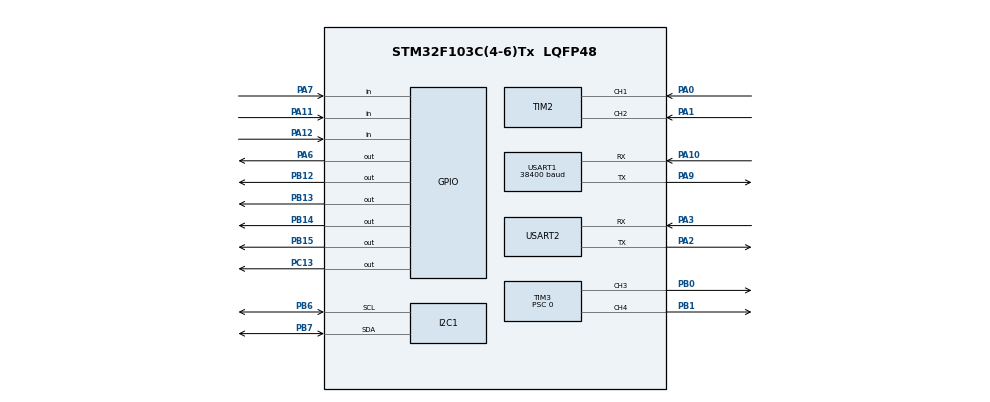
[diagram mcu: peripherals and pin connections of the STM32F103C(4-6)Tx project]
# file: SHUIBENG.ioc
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Mcu.Family=STM32F1
Mcu.Name=STM32F103C(4-6)Tx
Mcu.Package=LQFP48
PC13-TAMPER-RTC.PinState=GPIO_PIN_SET
PC13-TAMPER-RTC.GPIO_Speed=GPIO_SPEED_FREQ_LOW
PC13-TAMPER-RTC.Signal=GPIO_Output
NVIC.PriorityGroup=NVIC_PRIORITYGROUP_4
NVIC.USART1_IRQn=true\:2\:0\:false\:false\:true\:true\:true\:true
PA0-WKUP.Signal=S_TIM2_CH1_ETR
PA1.Signal=S_TIM2_CH2
PA10.Mode=Asynchronous
PA10.Signal=USART1_RX
PA11.GPIO_PuPd=GPIO_PULLUP
PA11.Signal=GPIO_Input
PA12.GPIO_PuPd=GPIO_PULLUP
PA12.Signal=GPIO_Input
PA2.Mode=Asynchronous
PA2.Signal=USART2_TX
PA3.Mode=Asynchronous
PA3.Signal=USART2_RX
PA6.Signal=GPIO_Output
PA7.Signal=GPIO_Input
PA9.Mode=Asynchronous
PA9.Signal=USART1_TX
PB0.Signal=S_TIM3_CH3
PB1.Signal=S_TIM3_CH4
PB12.Signal=GPIO_Output
PB13.Signal=GPIO_Output
PB14.Signal=GPIO_Output
PB15.Signal=GPIO_Output
PB6.Mode=I2C
PB6.Signal=I2C1_SCL
PB7.Mode=I2C
PB7.Signal=I2C1_SDA
ProjectManager.HeapSize=0x200
ProjectManager.StackSize=0x400
ProjectManager.TargetToolchain=CMake
RCC.APB1Freq_Value=8000000
RCC.APB2Freq_Value=8000000
SH.S_TIM2_CH1_ETR.0=TIM2_CH1,Encoder_Interface
SH.S_TIM2_CH2.0=TIM2_CH2,Encoder_Interface
SH.S_TIM3_CH3.0=TIM3_CH3,PWM Generation3 CH3
SH.S_TIM3_CH4.0=TIM3_CH4,PWM Generation4 CH4
TIM2.EncoderMode=TIM_ENCODERMODE_TI12
TIM3.Channel-PWM\ Generation3\ CH3=TIM_CHANNEL_3
TIM3.Channel-PWM\ Generation4\ CH4=TIM_CHANNEL_4
TIM3.Prescaler=0
TIM3.Period=399
USART1.BaudRate=38400
USART1.VirtualMode=VM_ASYNC
USART2.VirtualMode=VM_ASYNC
VP_RTC_VS_RTC_Activate.Mode=RTC_Enabled
PA13.Mode=Serial_Wire
PA13.Signal=SYS_JTMS-SWDIO
PA14.Mode=Serial_Wire
PA14.Signal=SYS_JTCK-SWCLK
board=custom

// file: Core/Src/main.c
/* USER CODE BEGIN Header */
/**
  ******************************************************************************
  * @file           : main.c
  * @brief          : Main program body
  ******************************************************************************
  * @attention
  *
  * Copyright (c) 2026 STMicroelectronics.
  * All rights reserved.
  *
  * This software is licensed under terms that can be found in the LICENSE file
  * in the root directory of this software component.
  * If no LICENSE file comes with this software, it is provided AS-IS.
  *
  ******************************************************************************
  */
/* USER CODE END Header */
#include "main.h"

/* USER CODE BEGIN Includes */
#include "tb6612.h"
#include "pid.h"
#include "pump_app.h"
#include "bt_control.h"
#include <string.h>
/* USER CODE END Includes */

/* USER CODE BEGIN PD */
#define SPEED_PERIOD   50U      /* 速度环采样周期 ms */
#define MOTOR_A_ENCODER_SIGN (1) /* Live capture: negative PWM decreases TIM2 CNT; feedback already matches drive. */
#define SPEED_COUNT_TO_RPM (60000.0f / (SPEED_PERIOD * PUMP_ENCODER_COUNTS_PER_REV))
/* USER CODE END PD */

I2C_HandleTypeDef hi2c1;

RTC_HandleTypeDef hrtc;

TIM_HandleTypeDef htim2;
TIM_HandleTypeDef htim3;

UART_HandleTypeDef huart1;
UART_HandleTypeDef huart2;

/* USER CODE BEGIN PV */
static PID_t pid_a;             /* A 通道速度环 PID */
static volatile float motor_a_target = 0.0f; /* 由按键/位置控制生成，输出轴 RPM */
/* USER CODE END PV */

void SystemClock_Config(void);
static void MX_GPIO_Init(void);
static void MX_I2C1_Init(void);
static void MX_RTC_Init(void);
static void MX_TIM2_Init(void);
static void MX_TIM3_Init(void);
static void MX_USART1_UART_Init(void);
static void MX_USART2_UART_Init(void);

/* USER CODE BEGIN 0 */
/* PI and pump commands retain 0..1000 units when the PWM timer period changes. */
static uint32_t Motor_PWMCompare(uint32_t duty_per_mille)
{
    if (duty_per_mille > 1000U) duty_per_mille = 1000U;
    return duty_per_mille * (TB6612_GetPeriod() + 1U) / 1000U;
}

static void PumpControl_Task(void)
{
    static uint16_t last_pump_pwm = 0U;
    const PumpAppStatus *app;
    PumpApp_Poll(HAL_GetTick(), (uint16_t)__HAL_TIM_GET_COUNTER(&htim2),
                 HAL_GPIO_ReadPin(GPIOA, GPIO_PIN_11) == GPIO_PIN_RESET,
                 HAL_GPIO_ReadPin(GPIOA, GPIO_PIN_12) == GPIO_PIN_RESET);
    app = PumpApp_GetStatus();
    if ((motor_a_target != 0.0f) && (app->speed_target_rpm == 0.0f))
    {
        PID_Reset(&pid_a);
        AO_Brake();
    }
    motor_a_target = app->speed_target_rpm;
    if (app->pump_pwm != last_pump_pwm)
    {
        last_pump_pwm = app->pump_pwm;
        if (last_pump_pwm == 0U) BO_Stop();
        else BO_Control(1U, Motor_PWMCompare(last_pump_pwm));
    }
}

/**
  * @brief  A 通道速度闭环（每 SPEED_PERIOD ms 执行一次）
  * @note   PID 内部使用每周期计数，目标与遥测使用输出轴 RPM。
  *         PID 输出有符号：正数正转、负数反转
  */
static void MotorA_SpeedLoop(void)
{
    static int16_t  last_cnt  = 0;
    static uint32_t last_tick = 0;

    int16_t now;
    int32_t speed;
    float   u;
    float   target_rpm;
    float   target_counts;

    /* 未到采样周期直接返回 */
    if ((HAL_GetTick() - last_tick) < SPEED_PERIOD)
    {
        return;
    }
    last_tick = HAL_GetTick();

    /* 读编码器并算出本周期速度（16 位计数器，用 int16_t 处理溢出） */
    now      = (int16_t)__HAL_TIM_GET_COUNTER(&htim2);
    speed    = MOTOR_A_ENCODER_SIGN * (int32_t)(int16_t)(now - last_cnt);
    last_cnt = now;

    /* PID 计算，输出范围 ±1000（对应 PWM 满量程） */
    target_rpm = motor_a_target;
    /* S-curve position planner already supplies the speed reference. */
    target_counts = target_rpm / SPEED_COUNT_TO_RPM;
    if (target_rpm == 0.0f)
    {
        PID_Reset(&pid_a);
        u = 0.0f;
    }
    else
    {
        /* Extension/retraction commands must not reverse drive while braking.
         * Asymmetric limits also prevent integral windup against the zero bound. */
        u = PID_CalcWithLimits(&pid_a, target_counts, (float)speed,
                              0.0f,
                              target_rpm > 0.0f ? 0.0f : -PUMP_AXIS_MAX_PWM,
                              target_rpm > 0.0f ? PUMP_AXIS_MAX_PWM : 0.0f);
    }

    /* Position stop uses brake; otherwise signed output selects direction. */
    if (u == 0.0f)
    {
        AO_Brake();
    }
    else if (u >= 0.0f)
    {
        AO_Control(1, Motor_PWMCompare((uint32_t)u));
    }
    else
    {
        AO_Control(0, Motor_PWMCompare((uint32_t)(-u)));
    }

    BT_Control_SendTelemetry(target_rpm, (float)speed * SPEED_COUNT_TO_RPM, u);
}
/* USER CODE END 0 */

int main(void)
{

  /* MCU Configuration--------------------------------------------------------*/

  /* Reset of all peripherals, Initializes the Flash interface and the Systick. */
  HAL_Init();

  /* Configure the system clock */
  SystemClock_Config();

  /* Initialize all configured peripherals */
  MX_GPIO_Init();
  MX_I2C1_Init();
  MX_RTC_Init();
  MX_TIM2_Init();
  MX_TIM3_Init();
  MX_USART1_UART_Init();
  MX_USART2_UART_Init();
  /* USER CODE BEGIN 2 */
  /* TB6612: AIN1=PB13 AIN2=PB12 PWMA=PB1(TIM3_CH4)
   *         BIN1=PB14 BIN2=PB15 PWMB=PB0(TIM3_CH3)
   * HSI 8MHz: PSC=0, ARR=399 -> 20kHz. Control commands stay in 0..1000 units.
   * Recalculate pre/per if the clock changes. A/B share TIM3 and its frequency. */
  TB6612_Init(1, 399);

  /* 启动 TIM2 编码器接口（PA0=TIM2_CH1 / PA1=TIM2_CH2），用于测速 */
  HAL_TIM_Encoder_Start(&htim2, TIM_CHANNEL_ALL);
  PumpApp_Init(HAL_GetTick(), (uint16_t)__HAL_TIM_GET_COUNTER(&htim2), MOTOR_A_ENCODER_SIGN);
  TB6612_Stop();

  /* Pure PI, error in x4 encoder counts per 50ms. No speed/friction feedforward.
   * Gains live in pump_app.h; I2 reports signed PI output. */
  PID_Init(&pid_a, PUMP_SPEED_KP, PUMP_SPEED_KI, 0.0f, 1000.0f);
  BT_Control_Init(&huart1);
  /* USER CODE END 2 */

  /* Infinite loop */
  while (1)
  {

    /* USER CODE BEGIN 3 */
    /* 速度闭环：每 50ms 采样一次编码器、算一次 PID */
    BT_Control_Task();
    PumpControl_Task();
    MotorA_SpeedLoop();
  }
  /* USER CODE END 3 */
}

void SystemClock_Config(void)
{
  RCC_OscInitTypeDef RCC_OscInitStruct = {0};
  RCC_ClkInitTypeDef RCC_ClkInitStruct = {0};
  RCC_PeriphCLKInitTypeDef PeriphClkInit = {0};

  /** Initializes the RCC Oscillators according to the specified parameters
  * in the RCC_OscInitTypeDef structure.
  */
  RCC_OscInitStruct.OscillatorType = RCC_OSCILLATORTYPE_HSI|RCC_OSCILLATORTYPE_LSI;
  RCC_OscInitStruct.HSIState = RCC_HSI_ON;
  RCC_OscInitStruct.HSICalibrationValue = RCC_HSICALIBRATION_DEFAULT;
  RCC_OscInitStruct.LSIState = RCC_LSI_ON;
  RCC_OscInitStruct.PLL.PLLState = RCC_PLL_NONE;
  if (HAL_RCC_OscConfig(&RCC_OscInitStruct) != HAL_OK)
  {
    Error_Handler();
  }

  /** Initializes the CPU, AHB and APB buses clocks
  */
  RCC_ClkInitStruct.ClockType = RCC_CLOCKTYPE_HCLK|RCC_CLOCKTYPE_SYSCLK
                              |RCC_CLOCKTYPE_PCLK1|RCC_CLOCKTYPE_PCLK2;
  RCC_ClkInitStruct.SYSCLKSource = RCC_SYSCLKSOURCE_HSI;
  RCC_ClkInitStruct.AHBCLKDivider = RCC_SYSCLK_DIV1;
  RCC_ClkInitStruct.APB1CLKDivider = RCC_HCLK_DIV1;
  RCC_ClkInitStruct.APB2CLKDivider = RCC_HCLK_DIV1;

  if (HAL_RCC_ClockConfig(&RCC_ClkInitStruct, FLASH_LATENCY_0) != HAL_OK)
  {
    Error_Handler();
  }
  PeriphClkInit.PeriphClockSelection = RCC_PERIPHCLK_RTC;
  PeriphClkInit.RTCClockSelection = RCC_RTCCLKSOURCE_LSI;
  if (HAL_RCCEx_PeriphCLKConfig(&PeriphClkInit) != HAL_OK)
  {
    Error_Handler();
  }
}

static void MX_I2C1_Init(void)
{

  hi2c1.Instance = I2C1;
  hi2c1.Init.ClockSpeed = 100000;
  hi2c1.Init.DutyCycle = I2C_DUTYCYCLE_2;
  hi2c1.Init.OwnAddress1 = 0;
  hi2c1.Init.AddressingMode = I2C_ADDRESSINGMODE_7BIT;
  hi2c1.Init.DualAddressMode = I2C_DUALADDRESS_DISABLE;
  hi2c1.Init.OwnAddress2 = 0;
  hi2c1.Init.GeneralCallMode = I2C_GENERALCALL_DISABLE;
  hi2c1.Init.NoStretchMode = I2C_NOSTRETCH_DISABLE;
  if (HAL_I2C_Init(&hi2c1) != HAL_OK)
  {
    Error_Handler();
  }

}

static void MX_RTC_Init(void)
{

  /** Initialize RTC Only
  */
  hrtc.Instance = RTC;
  hrtc.Init.AsynchPrediv = RTC_AUTO_1_SECOND;
  hrtc.Init.OutPut = RTC_OUTPUTSOURCE_NONE;
  if (HAL_RTC_Init(&hrtc) != HAL_OK)
  {
    Error_Handler();
  }

}

static void MX_TIM2_Init(void)
{

  TIM_Encoder_InitTypeDef sConfig = {0};
  TIM_MasterConfigTypeDef sMasterConfig = {0};

  htim2.Instance = TIM2;
  htim2.Init.Prescaler = 0;
  htim2.Init.CounterMode = TIM_COUNTERMODE_UP;
  htim2.Init.Period = 65535;
  htim2.Init.ClockDivision = TIM_CLOCKDIVISION_DIV1;
  htim2.Init.AutoReloadPreload = TIM_AUTORELOAD_PRELOAD_DISABLE;
  sConfig.EncoderMode = TIM_ENCODERMODE_TI12;
  sConfig.IC1Polarity = TIM_ICPOLARITY_RISING;
  sConfig.IC1Selection = TIM_ICSELECTION_DIRECTTI;
  sConfig.IC1Prescaler = TIM_ICPSC_DIV1;
  sConfig.IC1Filter = 0;
  sConfig.IC2Polarity = TIM_ICPOLARITY_RISING;
  sConfig.IC2Selection = TIM_ICSELECTION_DIRECTTI;
  sConfig.IC2Prescaler = TIM_ICPSC_DIV1;
  sConfig.IC2Filter = 0;
  if (HAL_TIM_Encoder_Init(&htim2, &sConfig) != HAL_OK)
  {
    Error_Handler();
  }
  sMasterConfig.MasterOutputTrigger = TIM_TRGO_RESET;
  sMasterConfig.MasterSlaveMode = TIM_MASTERSLAVEMODE_DISABLE;
  if (HAL_TIMEx_MasterConfigSynchronization(&htim2, &sMasterConfig) != HAL_OK)
  {
    Error_Handler();
  }

}

static void MX_TIM3_Init(void)
{

  TIM_MasterConfigTypeDef sMasterConfig = {0};
  TIM_OC_InitTypeDef sConfigOC = {0};

  htim3.Instance = TIM3;
  htim3.Init.Prescaler = 0;
  htim3.Init.CounterMode = TIM_COUNTERMODE_UP;
  htim3.Init.Period = 399;
  htim3.Init.ClockDivision = TIM_CLOCKDIVISION_DIV1;
  htim3.Init.AutoReloadPreload = TIM_AUTORELOAD_PRELOAD_DISABLE;
  if (HAL_TIM_PWM_Init(&htim3) != HAL_OK)
  {
    Error_Handler();
  }
  sMasterConfig.MasterOutputTrigger = TIM_TRGO_RESET;
  sMasterConfig.MasterSlaveMode = TIM_MASTERSLAVEMODE_DISABLE;
  if (HAL_TIMEx_MasterConfigSynchronization(&htim3, &sMasterConfig) != HAL_OK)
  {
    Error_Handler();
  }
  sConfigOC.OCMode = TIM_OCMODE_PWM1;
  sConfigOC.Pulse = 0;
  sConfigOC.OCPolarity = TIM_OCPOLARITY_HIGH;
  sConfigOC.OCFastMode = TIM_OCFAST_DISABLE;
  if (HAL_TIM_PWM_ConfigChannel(&htim3, &sConfigOC, TIM_CHANNEL_3) != HAL_OK)
  {
    Error_Handler();
  }
  if (HAL_TIM_PWM_ConfigChannel(&htim3, &sConfigOC, TIM_CHANNEL_4) != HAL_OK)
  {
    Error_Handler();
  }
  HAL_TIM_MspPostInit(&htim3);

}

static void MX_USART1_UART_Init(void)
{

  huart1.Instance = USART1;
  huart1.Init.BaudRate = 38400;
  huart1.Init.WordLength = UART_WORDLENGTH_8B;
  huart1.Init.StopBits = UART_STOPBITS_1;
  huart1.Init.Parity = UART_PARITY_NONE;
  huart1.Init.Mode = UART_MODE_TX_RX;
  huart1.Init.HwFlowCtl = UART_HWCONTROL_NONE;
  huart1.Init.OverSampling = UART_OVERSAMPLING_16;
  if (HAL_UART_Init(&huart1) != HAL_OK)
  {
    Error_Handler();
  }

}

static void MX_USART2_UART_Init(void)
{

  huart2.Instance = USART2;
  huart2.Init.BaudRate = 115200;
  huart2.Init.WordLength = UART_WORDLENGTH_8B;
  huart2.Init.StopBits = UART_STOPBITS_1;
  huart2.Init.Parity = UART_PARITY_NONE;
  huart2.Init.Mode = UART_MODE_TX_RX;
  huart2.Init.HwFlowCtl = UART_HWCONTROL_NONE;
  huart2.Init.OverSampling = UART_OVERSAMPLING_16;
  if (HAL_UART_Init(&huart2) != HAL_OK)
  {
    Error_Handler();
  }

}

static void MX_GPIO_Init(void)
{
  GPIO_InitTypeDef GPIO_InitStruct = {0};

  /* GPIO Ports Clock Enable */
  __HAL_RCC_GPIOC_CLK_ENABLE();
  __HAL_RCC_GPIOA_CLK_ENABLE();
  __HAL_RCC_GPIOB_CLK_ENABLE();

  /* PC13 board LED is active low: drive high to keep it off. */
  HAL_GPIO_WritePin(GPIOC, GPIO_PIN_13, GPIO_PIN_SET);
  GPIO_InitStruct.Pin = GPIO_PIN_13;
  GPIO_InitStruct.Mode = GPIO_MODE_OUTPUT_PP;
  GPIO_InitStruct.Pull = GPIO_NOPULL;
  GPIO_InitStruct.Speed = GPIO_SPEED_FREQ_LOW;
  HAL_GPIO_Init(GPIOC, &GPIO_InitStruct);

  /*Configure GPIO pin Output Level */
  HAL_GPIO_WritePin(GPIOA, GPIO_PIN_6, GPIO_PIN_RESET);

  /*Configure GPIO pin Output Level */
  HAL_GPIO_WritePin(GPIOB, GPIO_PIN_12|GPIO_PIN_13|GPIO_PIN_14|GPIO_PIN_15, GPIO_PIN_RESET);

  /*Configure GPIO pin : PA6 */
  GPIO_InitStruct.Pin = GPIO_PIN_6;
  GPIO_InitStruct.Mode = GPIO_MODE_OUTPUT_PP;
  GPIO_InitStruct.Pull = GPIO_NOPULL;
  GPIO_InitStruct.Speed = GPIO_SPEED_FREQ_LOW;
  HAL_GPIO_Init(GPIOA, &GPIO_InitStruct);

  /*Configure GPIO pin : PA7 */
  GPIO_InitStruct.Pin = GPIO_PIN_7;
  GPIO_InitStruct.Mode = GPIO_MODE_INPUT;
  GPIO_InitStruct.Pull = GPIO_NOPULL;
  HAL_GPIO_Init(GPIOA, &GPIO_InitStruct);

  /* KEY1=PA11, KEY2=PA12: switches connect to GND when pressed. */
  GPIO_InitStruct.Pin = GPIO_PIN_11|GPIO_PIN_12;
  GPIO_InitStruct.Pull = GPIO_PULLUP;
  HAL_GPIO_Init(GPIOA, &GPIO_InitStruct);

  /*Configure GPIO pins : PB12 PB13 PB14 PB15 */
  GPIO_InitStruct.Pin = GPIO_PIN_12|GPIO_PIN_13|GPIO_PIN_14|GPIO_PIN_15;
  GPIO_InitStruct.Mode = GPIO_MODE_OUTPUT_PP;
  GPIO_InitStruct.Pull = GPIO_NOPULL;
  GPIO_InitStruct.Speed = GPIO_SPEED_FREQ_LOW;
  HAL_GPIO_Init(GPIOB, &GPIO_InitStruct);

}

void Error_Handler(void)
{
  __disable_irq();
  while (1)
  {
  }
}
